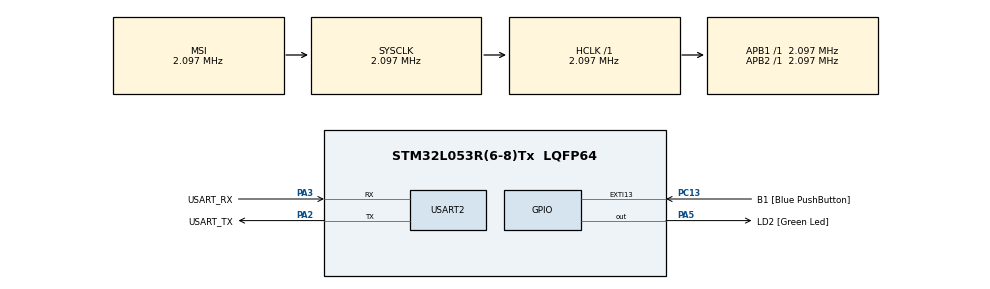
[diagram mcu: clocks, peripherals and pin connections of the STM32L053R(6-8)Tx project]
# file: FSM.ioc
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Mcu.Family=STM32L0
Mcu.Name=STM32L053R(6-8)Tx
Mcu.Package=LQFP64
NVIC.EXTI4_15_IRQn=true\:0\:0\:false\:false\:true\:true\:true\:true
PA13.GPIO_Label=TMS
PA13.Mode=Serial_Wire
PA13.Signal=SYS_SWDIO
PA14.GPIO_Label=TCK
PA14.Mode=Serial_Wire
PA14.Signal=SYS_SWCLK
PA2.GPIO_Label=USART_TX
PA2.Mode=Asynchronous
PA2.Signal=USART2_TX
PA3.GPIO_Label=USART_RX
PA3.Mode=Asynchronous
PA3.Signal=USART2_RX
PA5.GPIO_Label=LD2 [Green Led]
PA5.Signal=GPIO_Output
PC13.GPIO_Label=B1 [Blue PushButton]
PC13.GPIO_ModeDefaultEXTI=GPIO_MODE_IT_FALLING
PC13.Signal=GPXTI13
PC14-OSC32_IN.Mode=LSE-External-Oscillator
PC14-OSC32_IN.Signal=RCC_OSC32_IN
PC15-OSC32_OUT.Mode=LSE-External-Oscillator
PC15-OSC32_OUT.Signal=RCC_OSC32_OUT
PH0-OSC_IN.Mode=HSE-External-Clock-Source
PH0-OSC_IN.Signal=RCC_OSC_IN
PH1-OSC_OUT.Signal=RCC_OSC_OUT
ProjectManager.HeapSize=0x200
ProjectManager.StackSize=0x400
ProjectManager.TargetToolchain=EWARM V8.32
RCC.AHBFreq_Value=2097000
RCC.APB1Freq_Value=2097000
RCC.APB1TimFreq_Value=2097000
RCC.APB2Freq_Value=2097000
RCC.APB2TimFreq_Value=2097000
RCC.HSE_VALUE=8000000
RCC.HSI16_VALUE=16000000
RCC.HSI48_VALUE=48000000
RCC.HSI_VALUE=16000000
RCC.MSI_VALUE=2097000
RCC.SYSCLKFreq_VALUE=2097000
RCC.VCOOutputFreq_Value=48000000
USART2.VirtualMode-Asynchronous=VM_ASYNC
board=NUCLEO-L053R8

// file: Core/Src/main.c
/* USER CODE BEGIN Header */
/**
  ******************************************************************************
  * @file           : main.c
  * @brief          : Main program body
  ******************************************************************************
  * @attention
  *
  * Copyright (c) 2026 STMicroelectronics.
  * All rights reserved.
  *
  * This software is licensed under terms that can be found in the LICENSE file
  * in the root directory of this software component.
  * If no LICENSE file comes with this software, it is provided AS-IS.
  *
  ******************************************************************************
  */
  /* USER CODE END Header */
  /* Includes ------------------------------------------------------------------*/
#include "main.h"

/* USER CODE BEGIN Includes */
#include "fsm.h"
#include <stdio.h>
#include <stdbool.h>
/* USER CODE END Includes */

/* USER CODE BEGIN PM */
typedef enum {
    FSM_EVENT_BUTTONE = FSM_EVENT_USER_START,
    FSM_EVENT_SLOW,
    FSM_EVENT_FAST,
}FSM_EVENT_USER;
/* USER CODE END PM */

UART_HandleTypeDef huart2;

/* USER CODE BEGIN PV */
static void StateA(FSM_T * fsm, int event);
static void StateB(FSM_T * fsm, int event);
static bool gButtonPressed = false;
/* USER CODE END PV */

void SystemClock_Config(void);
static void MX_GPIO_Init(void);
static void MX_USART2_UART_Init(void);

/* USER CODE BEGIN 0 */
static void StateA(FSM_T * fsm, int event)
{
    switch (event) {
        case FSM_EVENT_ENTRY:
            printf("StateA Entry\n");
            break;
        case FSM_EVENT_EXIT:
            printf("StateA Exit\n");
            break;
        case FSM_EVENT_BUTTONE:
            FSMTransform(fsm, StateB, NULL);
            break;
        case FSM_EVENT_SLOW:
            HAL_GPIO_TogglePin(LD2_GPIO_Port, LD2_Pin);
            break;
    }
}

static void StateB(FSM_T * fsm, int event)
{
    switch (event) {
        case FSM_EVENT_ENTRY:
            printf("StateB Entry\n");
            break;
        case FSM_EVENT_EXIT:
            printf("StateB Exit\n");
            break;
        case FSM_EVENT_BUTTONE:
            FSMTransform(fsm, StateA, NULL);
            break;
        case FSM_EVENT_FAST:
            HAL_GPIO_TogglePin(LD2_GPIO_Port, LD2_Pin);
            break;

    }
}

/* USER CODE END 0 */

int main(void)
{

    /* USER CODE BEGIN 1 */
    FSM_T fsm;
    uint32_t counterSlow = 0;
    uint32_t counterFast = 0;
    /* USER CODE END 1 */

    /* MCU Configuration--------------------------------------------------------*/

    /* Reset of all peripherals, Initializes the Flash interface and the Systick. */
    HAL_Init();

    /* Configure the system clock */
    SystemClock_Config();

    /* Initialize all configured peripherals */
    MX_GPIO_Init();
    MX_USART2_UART_Init();
    /* USER CODE BEGIN 2 */
    FSMInit(&fsm, StateA);
    /* USER CODE END 2 */

    /* Infinite loop */
    while (1) {
        if (gButtonPressed == true) {
            gButtonPressed = false;
            FSMDispatch(&fsm, FSM_EVENT_BUTTONE);
        }
        if (HAL_GetTick() - counterFast >= 100) {
            counterFast = HAL_GetTick();
            FSMDispatch(&fsm, FSM_EVENT_FAST);
        }
        if (HAL_GetTick() - counterSlow >= 500) {
            counterSlow = HAL_GetTick();
            FSMDispatch(&fsm, FSM_EVENT_SLOW);
        }
    }
}

void SystemClock_Config(void)
{
    RCC_OscInitTypeDef RCC_OscInitStruct = { 0 };
    RCC_ClkInitTypeDef RCC_ClkInitStruct = { 0 };
    RCC_PeriphCLKInitTypeDef PeriphClkInit = { 0 };

    /** Configure the main internal regulator output voltage
    */
    __HAL_PWR_VOLTAGESCALING_CONFIG(PWR_REGULATOR_VOLTAGE_SCALE1);

    /** Initializes the RCC Oscillators according to the specified parameters
    * in the RCC_OscInitTypeDef structure.
    */
    RCC_OscInitStruct.OscillatorType = RCC_OSCILLATORTYPE_MSI;
    RCC_OscInitStruct.MSIState = RCC_MSI_ON;
    RCC_OscInitStruct.MSICalibrationValue = 0;
    RCC_OscInitStruct.MSIClockRange = RCC_MSIRANGE_5;
    RCC_OscInitStruct.PLL.PLLState = RCC_PLL_NONE;
    if (HAL_RCC_OscConfig(&RCC_OscInitStruct) != HAL_OK) {
        Error_Handler();
    }

    /** Initializes the CPU, AHB and APB buses clocks
    */
    RCC_ClkInitStruct.ClockType = RCC_CLOCKTYPE_HCLK | RCC_CLOCKTYPE_SYSCLK
        | RCC_CLOCKTYPE_PCLK1 | RCC_CLOCKTYPE_PCLK2;
    RCC_ClkInitStruct.SYSCLKSource = RCC_SYSCLKSOURCE_MSI;
    RCC_ClkInitStruct.AHBCLKDivider = RCC_SYSCLK_DIV1;
    RCC_ClkInitStruct.APB1CLKDivider = RCC_HCLK_DIV1;
    RCC_ClkInitStruct.APB2CLKDivider = RCC_HCLK_DIV1;

    if (HAL_RCC_ClockConfig(&RCC_ClkInitStruct, FLASH_LATENCY_0) != HAL_OK) {
        Error_Handler();
    }
    PeriphClkInit.PeriphClockSelection = RCC_PERIPHCLK_USART2;
    PeriphClkInit.Usart2ClockSelection = RCC_USART2CLKSOURCE_PCLK1;
    if (HAL_RCCEx_PeriphCLKConfig(&PeriphClkInit) != HAL_OK) {
        Error_Handler();
    }
}

static void MX_USART2_UART_Init(void)
{

    huart2.Instance = USART2;
    huart2.Init.BaudRate = 115200;
    huart2.Init.WordLength = UART_WORDLENGTH_8B;
    huart2.Init.StopBits = UART_STOPBITS_1;
    huart2.Init.Parity = UART_PARITY_NONE;
    huart2.Init.Mode = UART_MODE_TX_RX;
    huart2.Init.HwFlowCtl = UART_HWCONTROL_NONE;
    huart2.Init.OverSampling = UART_OVERSAMPLING_16;
    huart2.Init.OneBitSampling = UART_ONE_BIT_SAMPLE_DISABLE;
    huart2.AdvancedInit.AdvFeatureInit = UART_ADVFEATURE_NO_INIT;
    if (HAL_UART_Init(&huart2) != HAL_OK) {
        Error_Handler();
    }

}

static void MX_GPIO_Init(void)
{
    GPIO_InitTypeDef GPIO_InitStruct = { 0 };

    /* GPIO Ports Clock Enable */
    __HAL_RCC_GPIOC_CLK_ENABLE();
    __HAL_RCC_GPIOH_CLK_ENABLE();
    __HAL_RCC_GPIOA_CLK_ENABLE();

    /*Configure GPIO pin Output Level */
    HAL_GPIO_WritePin(LD2_GPIO_Port, LD2_Pin, GPIO_PIN_RESET);

    /*Configure GPIO pin : B1_Pin */
    GPIO_InitStruct.Pin = B1_Pin;
    GPIO_InitStruct.Mode = GPIO_MODE_IT_FALLING;
    GPIO_InitStruct.Pull = GPIO_NOPULL;
    HAL_GPIO_Init(B1_GPIO_Port, &GPIO_InitStruct);

    /*Configure GPIO pin : LD2_Pin */
    GPIO_InitStruct.Pin = LD2_Pin;
    GPIO_InitStruct.Mode = GPIO_MODE_OUTPUT_PP;
    GPIO_InitStruct.Pull = GPIO_NOPULL;
    GPIO_InitStruct.Speed = GPIO_SPEED_FREQ_LOW;
    HAL_GPIO_Init(LD2_GPIO_Port, &GPIO_InitStruct);

    /* EXTI interrupt init*/
    HAL_NVIC_SetPriority(EXTI4_15_IRQn, 0, 0);
    HAL_NVIC_EnableIRQ(EXTI4_15_IRQn);

}

/* USER CODE BEGIN 4 */
void HAL_GPIO_EXTI_Callback(uint16_t GPIO_Pin)
{
    static bool doOperation = true;
    static uint32_t timestampA = 0;
    uint32_t timestampB = HAL_GetTick();

    if (timestampB - timestampA > 300) {
        doOperation = true;
    }

    if (doOperation == true) {
        doOperation = false;
        timestampA = timestampB;
        gButtonPressed = true;
    }
}
/* USER CODE END 4 */

void Error_Handler(void)
{
    __disable_irq();
    while (1) {
    }
}
